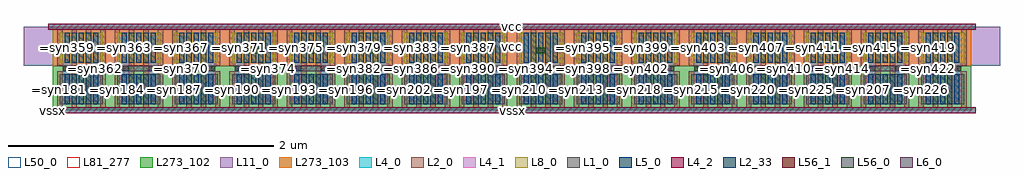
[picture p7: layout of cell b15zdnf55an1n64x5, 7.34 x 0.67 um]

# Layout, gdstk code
import gdstk
lib = gdstk.Library(unit=1e-6, precision=5e-10)
def R(c, l, rs):  # rectangles x0, y0, x1, y1
    for r in rs: c.add(gdstk.rectangle(r[:2], r[2:], *l))
def A(c, l, x, y, w, h, nx, ny, dx, dy):  # array of equal rectangles
    R(c, l, [(x+i*dx, y+j*dy, x+i*dx+w, y+j*dy+h) for i in range(nx) for j in range(ny)])
def P(c, l, *ps):  # polygons
    for p in ps: c.add(gdstk.Polygon(p, *l))
L1_0 = (1, 0)
L2_0 = (2, 0)
L2_33 = (2, 33)
L4_0 = (4, 0)
L4_1 = (4, 1)
L4_2 = (4, 2)
L5_0 = (5, 0)
L6_0 = (6, 0)
L8_0 = (8, 0)
L11_0 = (11, 0)
L50_0 = (50, 0)
L56_0 = (56, 0)
L56_1 = (56, 1)
L81_277 = (81, 277)
L273_102 = (273, 102)
L273_103 = (273, 103)

b15zdnf55an1n64x5 = lib.new_cell('b15zdnf55an1n64x5')
A(b15zdnf55an1n64x5, L1_0, 0.054, 0.045, 0.324, 0.225, 16, 1, 0.432, 0)
R(b15zdnf55an1n64x5, L2_0, [(0.034,0.021,0.074,0.294), (0.142,0.021,0.182,0.609), (0.25,0.021,0.29,0.609), (0.358,0.021,0.398,0.294), (0.466,0.021,0.506,0.294), (0.574,0.021,0.614,0.609), (0.682,0.021,0.722,0.609), (0.79,0.021,0.83,0.294), (0.898,0.021,0.938,0.294), (1.006,0.021,1.046,0.609), (1.114,0.021,1.154,0.609), (1.222,0.021,1.262,0.294), (1.33,0.021,1.37,0.294), (1.438,0.021,1.478,0.609), (1.546,0.021,1.586,0.609), (1.654,0.021,1.694,0.294), (1.762,0.021,1.802,0.294), (1.87,0.021,1.91,0.609), (1.978,0.021,2.018,0.609), (2.086,0.021,2.126,0.294), (2.194,0.021,2.234,0.294), (2.302,0.021,2.342,0.609), (2.41,0.021,2.45,0.609), (2.518,0.021,2.558,0.294), (2.626,0.021,2.666,0.294), (2.734,0.021,2.774,0.609), (2.842,0.021,2.882,0.609), (2.95,0.021,2.99,0.294), (3.058,0.021,3.098,0.294), (3.166,0.021,3.206,0.609), (3.274,0.021,3.314,0.609), (3.382,0.021,3.422,0.294), (3.49,0.021,3.53,0.294), (3.598,0.021,3.638,0.609), (3.706,0.021,3.746,0.609), (3.814,0.021,3.854,0.294), (3.922,0.021,3.962,0.294), (4.03,0.021,4.07,0.609), (4.138,0.021,4.178,0.609), (4.246,0.021,4.286,0.294), (4.354,0.021,4.394,0.294), (4.462,0.021,4.502,0.609), (4.57,0.021,4.61,0.609), (4.678,0.021,4.718,0.294), (4.786,0.021,4.826,0.294), (4.894,0.021,4.934,0.609), (5.002,0.021,5.042,0.609), (5.11,0.021,5.15,0.294), (5.218,0.021,5.258,0.294), (5.326,0.021,5.366,0.609), (5.434,0.021,5.474,0.609), (5.542,0.021,5.582,0.294), (5.65,0.021,5.69,0.294), (5.758,0.021,5.798,0.609), (5.866,0.021,5.906,0.609), (5.974,0.021,6.014,0.294), (6.082,0.021,6.122,0.294), (6.19,0.021,6.23,0.609), (6.298,0.021,6.338,0.609), (6.406,0.021,6.446,0.294), (6.514,0.021,6.554,0.294), (6.622,0.021,6.662,0.609), (6.73,0.021,6.77,0.609), (6.838,0.021,6.878,0.294), (0.034,0.336,0.074,0.609), (0.358,0.336,0.398,0.609), (0.466,0.336,0.506,0.609), (0.79,0.336,0.83,0.609), (0.898,0.336,0.938,0.609), (1.222,0.336,1.262,0.609), (1.33,0.336,1.37,0.609), (1.654,0.336,1.694,0.609), (1.762,0.336,1.802,0.609), (2.086,0.336,2.126,0.609), (2.194,0.336,2.234,0.609), (2.518,0.336,2.558,0.609), (2.626,0.336,2.666,0.609), (2.95,0.336,2.99,0.609), (3.058,0.336,3.098,0.609), (3.382,0.336,3.422,0.609), (3.49,0.336,3.53,0.609), (3.814,0.336,3.854,0.609), (3.922,0.336,3.962,0.609), (4.246,0.336,4.286,0.609), (4.354,0.336,4.394,0.609), (4.678,0.336,4.718,0.609), (4.786,0.336,4.826,0.609), (5.11,0.336,5.15,0.609), (5.218,0.336,5.258,0.609), (5.542,0.336,5.582,0.609), (5.65,0.336,5.69,0.609), (5.974,0.336,6.014,0.609), (6.082,0.336,6.122,0.609), (6.406,0.336,6.446,0.609), (6.514,0.336,6.554,0.609), (6.838,0.336,6.878,0.609)])
R(b15zdnf55an1n64x5, L2_33, [(0.142,0.045,0.182,0.27), (0.25,0.045,0.29,0.27), (0.574,0.045,0.614,0.27), (0.682,0.045,0.722,0.27), (1.006,0.045,1.046,0.27), (1.114,0.045,1.154,0.27), (1.438,0.045,1.478,0.27), (1.546,0.045,1.586,0.27), (1.87,0.045,1.91,0.27), (1.978,0.045,2.018,0.27), (2.302,0.045,2.342,0.27), (2.41,0.045,2.45,0.27), (2.734,0.045,2.774,0.27), (2.842,0.045,2.882,0.27), (3.166,0.045,3.206,0.27), (3.274,0.045,3.314,0.27), (3.598,0.045,3.638,0.27), (3.706,0.045,3.746,0.27), (4.03,0.045,4.07,0.27), (4.138,0.045,4.178,0.27), (4.462,0.045,4.502,0.27), (4.57,0.045,4.61,0.27), (4.894,0.045,4.934,0.27), (5.002,0.045,5.042,0.27), (5.326,0.045,5.366,0.27), (5.434,0.045,5.474,0.27), (5.758,0.045,5.798,0.27), (5.866,0.045,5.906,0.27), (6.19,0.045,6.23,0.27), (6.298,0.045,6.338,0.27), (6.622,0.045,6.662,0.27), (6.73,0.045,6.77,0.27), (0.142,0.36,0.182,0.585), (0.25,0.36,0.29,0.585), (0.574,0.36,0.614,0.585), (0.682,0.36,0.722,0.585), (1.006,0.36,1.046,0.585), (1.114,0.36,1.154,0.585), (1.438,0.36,1.478,0.585), (1.546,0.36,1.586,0.585), (1.87,0.36,1.91,0.585), (1.978,0.36,2.018,0.585), (2.302,0.36,2.342,0.585), (2.41,0.36,2.45,0.585), (2.734,0.36,2.774,0.585), (2.842,0.36,2.882,0.585), (3.166,0.36,3.206,0.585), (3.274,0.36,3.314,0.585), (3.598,0.36,3.638,0.585), (3.706,0.36,3.746,0.585), (4.03,0.36,4.07,0.585), (4.138,0.36,4.178,0.585), (4.462,0.36,4.502,0.585), (4.57,0.36,4.61,0.585), (4.894,0.36,4.934,0.585), (5.002,0.36,5.042,0.585), (5.326,0.36,5.366,0.585), (5.434,0.36,5.474,0.585), (5.758,0.36,5.798,0.585), (5.866,0.36,5.906,0.585), (6.19,0.36,6.23,0.585), (6.298,0.36,6.338,0.585), (6.622,0.36,6.662,0.585), (6.73,0.36,6.77,0.585)])
R(b15zdnf55an1n64x5, L4_0, [(-0.034,-0.022,6.946,0.022), (-0.034,0.608,6.946,0.652)])
P(b15zdnf55an1n64x5, L4_0, [(0.358,0.428),(0.074,0.428),(0.074,0.562),(0.142,0.562),(0.142,0.472),(0.29,0.472),(0.29,0.562),(0.358,0.562)],
  [(0.358,0.068),(0.29,0.068),(0.29,0.158),(0.142,0.158),(0.142,0.068),(0.074,0.068),(0.074,0.382),(0.142,0.382),(0.142,0.202),(0.29,0.202),(0.29,0.382),(0.358,0.382)],
  [(0.79,0.428),(0.506,0.428),(0.506,0.562),(0.574,0.562),(0.574,0.472),(0.722,0.472),(0.722,0.562),(0.79,0.562)],
  [(0.79,0.068),(0.722,0.068),(0.722,0.158),(0.574,0.158),(0.574,0.068),(0.506,0.068),(0.506,0.382),(0.574,0.382),(0.574,0.202),(0.722,0.202),(0.722,0.382),(0.79,0.382)],
  [(1.222,0.428),(0.938,0.428),(0.938,0.562),(1.006,0.562),(1.006,0.472),(1.154,0.472),(1.154,0.562),(1.222,0.562)],
  [(1.222,0.068),(1.154,0.068),(1.154,0.158),(1.006,0.158),(1.006,0.068),(0.938,0.068),(0.938,0.382),(1.006,0.382),(1.006,0.202),(1.154,0.202),(1.154,0.382),(1.222,0.382)],
  [(1.654,0.428),(1.37,0.428),(1.37,0.562),(1.438,0.562),(1.438,0.472),(1.586,0.472),(1.586,0.562),(1.654,0.562)],
  [(1.654,0.068),(1.586,0.068),(1.586,0.158),(1.438,0.158),(1.438,0.068),(1.37,0.068),(1.37,0.382),(1.438,0.382),(1.438,0.202),(1.586,0.202),(1.586,0.382),(1.654,0.382)],
  [(2.086,0.428),(1.802,0.428),(1.802,0.562),(1.87,0.562),(1.87,0.472),(2.018,0.472),(2.018,0.562),(2.086,0.562)],
  [(2.086,0.068),(2.018,0.068),(2.018,0.158),(1.87,0.158),(1.87,0.068),(1.802,0.068),(1.802,0.382),(1.87,0.382),(1.87,0.202),(2.018,0.202),(2.018,0.382),(2.086,0.382)],
  [(2.518,0.428),(2.234,0.428),(2.234,0.562),(2.302,0.562),(2.302,0.472),(2.45,0.472),(2.45,0.562),(2.518,0.562)],
  [(2.518,0.068),(2.45,0.068),(2.45,0.158),(2.302,0.158),(2.302,0.068),(2.234,0.068),(2.234,0.382),(2.302,0.382),(2.302,0.202),(2.45,0.202),(2.45,0.382),(2.518,0.382)],
  [(2.95,0.428),(2.666,0.428),(2.666,0.562),(2.734,0.562),(2.734,0.472),(2.882,0.472),(2.882,0.562),(2.95,0.562)],
  [(2.95,0.068),(2.882,0.068),(2.882,0.158),(2.734,0.158),(2.734,0.068),(2.666,0.068),(2.666,0.382),(2.734,0.382),(2.734,0.202),(2.882,0.202),(2.882,0.382),(2.95,0.382)],
  [(3.382,0.428),(3.098,0.428),(3.098,0.562),(3.166,0.562),(3.166,0.472),(3.314,0.472),(3.314,0.562),(3.382,0.562)],
  [(3.382,0.068),(3.314,0.068),(3.314,0.158),(3.166,0.158),(3.166,0.068),(3.098,0.068),(3.098,0.382),(3.166,0.382),(3.166,0.202),(3.314,0.202),(3.314,0.382),(3.382,0.382)],
  [(3.814,0.428),(3.53,0.428),(3.53,0.562),(3.598,0.562),(3.598,0.472),(3.746,0.472),(3.746,0.562),(3.814,0.562)],
  [(3.814,0.068),(3.746,0.068),(3.746,0.158),(3.598,0.158),(3.598,0.068),(3.53,0.068),(3.53,0.382),(3.598,0.382),(3.598,0.202),(3.746,0.202),(3.746,0.382),(3.814,0.382)],
  [(4.246,0.428),(3.962,0.428),(3.962,0.562),(4.03,0.562),(4.03,0.472),(4.178,0.472),(4.178,0.562),(4.246,0.562)],
  [(4.246,0.068),(4.178,0.068),(4.178,0.158),(4.03,0.158),(4.03,0.068),(3.962,0.068),(3.962,0.382),(4.03,0.382),(4.03,0.202),(4.178,0.202),(4.178,0.382),(4.246,0.382)],
  [(4.678,0.428),(4.394,0.428),(4.394,0.562),(4.462,0.562),(4.462,0.472),(4.61,0.472),(4.61,0.562),(4.678,0.562)],
  [(4.678,0.068),(4.61,0.068),(4.61,0.158),(4.462,0.158),(4.462,0.068),(4.394,0.068),(4.394,0.382),(4.462,0.382),(4.462,0.202),(4.61,0.202),(4.61,0.382),(4.678,0.382)],
  [(5.11,0.428),(4.826,0.428),(4.826,0.562),(4.894,0.562),(4.894,0.472),(5.042,0.472),(5.042,0.562),(5.11,0.562)],
  [(5.11,0.068),(5.042,0.068),(5.042,0.158),(4.894,0.158),(4.894,0.068),(4.826,0.068),(4.826,0.382),(4.894,0.382),(4.894,0.202),(5.042,0.202),(5.042,0.382),(5.11,0.382)],
  [(5.542,0.428),(5.258,0.428),(5.258,0.562),(5.326,0.562),(5.326,0.472),(5.474,0.472),(5.474,0.562),(5.542,0.562)],
  [(5.542,0.068),(5.474,0.068),(5.474,0.158),(5.326,0.158),(5.326,0.068),(5.258,0.068),(5.258,0.382),(5.326,0.382),(5.326,0.202),(5.474,0.202),(5.474,0.382),(5.542,0.382)],
  [(5.974,0.428),(5.69,0.428),(5.69,0.562),(5.758,0.562),(5.758,0.472),(5.906,0.472),(5.906,0.562),(5.974,0.562)],
  [(5.974,0.068),(5.906,0.068),(5.906,0.158),(5.758,0.158),(5.758,0.068),(5.69,0.068),(5.69,0.382),(5.758,0.382),(5.758,0.202),(5.906,0.202),(5.906,0.382),(5.974,0.382)],
  [(6.406,0.428),(6.122,0.428),(6.122,0.562),(6.19,0.562),(6.19,0.472),(6.338,0.472),(6.338,0.562),(6.406,0.562)],
  [(6.406,0.068),(6.338,0.068),(6.338,0.158),(6.19,0.158),(6.19,0.068),(6.122,0.068),(6.122,0.382),(6.19,0.382),(6.19,0.202),(6.338,0.202),(6.338,0.382),(6.406,0.382)],
  [(6.838,0.428),(6.554,0.428),(6.554,0.562),(6.622,0.562),(6.622,0.472),(6.77,0.472),(6.77,0.562),(6.838,0.562)],
  [(6.838,0.068),(6.77,0.068),(6.77,0.158),(6.622,0.158),(6.622,0.068),(6.554,0.068),(6.554,0.382),(6.622,0.382),(6.622,0.202),(6.77,0.202),(6.77,0.382),(6.838,0.382)])
P(b15zdnf55an1n64x5, L4_1, [(0.358,0.428),(0.074,0.428),(0.074,0.562),(0.142,0.562),(0.142,0.472),(0.29,0.472),(0.29,0.562),(0.358,0.562)],
  [(0.358,0.068),(0.29,0.068),(0.29,0.158),(0.142,0.158),(0.142,0.068),(0.074,0.068),(0.074,0.382),(0.142,0.382),(0.142,0.202),(0.29,0.202),(0.29,0.382),(0.358,0.382)],
  [(0.79,0.428),(0.506,0.428),(0.506,0.562),(0.574,0.562),(0.574,0.472),(0.722,0.472),(0.722,0.562),(0.79,0.562)],
  [(0.79,0.068),(0.722,0.068),(0.722,0.158),(0.574,0.158),(0.574,0.068),(0.506,0.068),(0.506,0.382),(0.574,0.382),(0.574,0.202),(0.722,0.202),(0.722,0.382),(0.79,0.382)],
  [(1.222,0.428),(0.938,0.428),(0.938,0.562),(1.006,0.562),(1.006,0.472),(1.154,0.472),(1.154,0.562),(1.222,0.562)],
  [(1.222,0.068),(1.154,0.068),(1.154,0.158),(1.006,0.158),(1.006,0.068),(0.938,0.068),(0.938,0.382),(1.006,0.382),(1.006,0.202),(1.154,0.202),(1.154,0.382),(1.222,0.382)],
  [(1.654,0.428),(1.37,0.428),(1.37,0.562),(1.438,0.562),(1.438,0.472),(1.586,0.472),(1.586,0.562),(1.654,0.562)],
  [(1.654,0.068),(1.586,0.068),(1.586,0.158),(1.438,0.158),(1.438,0.068),(1.37,0.068),(1.37,0.382),(1.438,0.382),(1.438,0.202),(1.586,0.202),(1.586,0.382),(1.654,0.382)],
  [(2.086,0.428),(1.802,0.428),(1.802,0.562),(1.87,0.562),(1.87,0.472),(2.018,0.472),(2.018,0.562),(2.086,0.562)],
  [(2.086,0.068),(2.018,0.068),(2.018,0.158),(1.87,0.158),(1.87,0.068),(1.802,0.068),(1.802,0.382),(1.87,0.382),(1.87,0.202),(2.018,0.202),(2.018,0.382),(2.086,0.382)],
  [(2.518,0.428),(2.234,0.428),(2.234,0.562),(2.302,0.562),(2.302,0.472),(2.45,0.472),(2.45,0.562),(2.518,0.562)],
  [(2.518,0.068),(2.45,0.068),(2.45,0.158),(2.302,0.158),(2.302,0.068),(2.234,0.068),(2.234,0.382),(2.302,0.382),(2.302,0.202),(2.45,0.202),(2.45,0.382),(2.518,0.382)],
  [(2.95,0.428),(2.666,0.428),(2.666,0.562),(2.734,0.562),(2.734,0.472),(2.882,0.472),(2.882,0.562),(2.95,0.562)],
  [(2.95,0.068),(2.882,0.068),(2.882,0.158),(2.734,0.158),(2.734,0.068),(2.666,0.068),(2.666,0.382),(2.734,0.382),(2.734,0.202),(2.882,0.202),(2.882,0.382),(2.95,0.382)],
  [(3.382,0.428),(3.098,0.428),(3.098,0.562),(3.166,0.562),(3.166,0.472),(3.314,0.472),(3.314,0.562),(3.382,0.562)],
  [(3.382,0.068),(3.314,0.068),(3.314,0.158),(3.166,0.158),(3.166,0.068),(3.098,0.068),(3.098,0.382),(3.166,0.382),(3.166,0.202),(3.314,0.202),(3.314,0.382),(3.382,0.382)],
  [(3.814,0.428),(3.53,0.428),(3.53,0.562),(3.598,0.562),(3.598,0.472),(3.746,0.472),(3.746,0.562),(3.814,0.562)],
  [(3.814,0.068),(3.746,0.068),(3.746,0.158),(3.598,0.158),(3.598,0.068),(3.53,0.068),(3.53,0.382),(3.598,0.382),(3.598,0.202),(3.746,0.202),(3.746,0.382),(3.814,0.382)],
  [(4.246,0.428),(3.962,0.428),(3.962,0.562),(4.03,0.562),(4.03,0.472),(4.178,0.472),(4.178,0.562),(4.246,0.562)],
  [(4.246,0.068),(4.178,0.068),(4.178,0.158),(4.03,0.158),(4.03,0.068),(3.962,0.068),(3.962,0.382),(4.03,0.382),(4.03,0.202),(4.178,0.202),(4.178,0.382),(4.246,0.382)],
  [(4.678,0.428),(4.394,0.428),(4.394,0.562),(4.462,0.562),(4.462,0.472),(4.61,0.472),(4.61,0.562),(4.678,0.562)],
  [(4.678,0.068),(4.61,0.068),(4.61,0.158),(4.462,0.158),(4.462,0.068),(4.394,0.068),(4.394,0.382),(4.462,0.382),(4.462,0.202),(4.61,0.202),(4.61,0.382),(4.678,0.382)],
  [(5.11,0.428),(4.826,0.428),(4.826,0.562),(4.894,0.562),(4.894,0.472),(5.042,0.472),(5.042,0.562),(5.11,0.562)],
  [(5.11,0.068),(5.042,0.068),(5.042,0.158),(4.894,0.158),(4.894,0.068),(4.826,0.068),(4.826,0.382),(4.894,0.382),(4.894,0.202),(5.042,0.202),(5.042,0.382),(5.11,0.382)],
  [(5.542,0.428),(5.258,0.428),(5.258,0.562),(5.326,0.562),(5.326,0.472),(5.474,0.472),(5.474,0.562),(5.542,0.562)],
  [(5.542,0.068),(5.474,0.068),(5.474,0.158),(5.326,0.158),(5.326,0.068),(5.258,0.068),(5.258,0.382),(5.326,0.382),(5.326,0.202),(5.474,0.202),(5.474,0.382),(5.542,0.382)],
  [(5.974,0.428),(5.69,0.428),(5.69,0.562),(5.758,0.562),(5.758,0.472),(5.906,0.472),(5.906,0.562),(5.974,0.562)],
  [(5.974,0.068),(5.906,0.068),(5.906,0.158),(5.758,0.158),(5.758,0.068),(5.69,0.068),(5.69,0.382),(5.758,0.382),(5.758,0.202),(5.906,0.202),(5.906,0.382),(5.974,0.382)],
  [(6.406,0.428),(6.122,0.428),(6.122,0.562),(6.19,0.562),(6.19,0.472),(6.338,0.472),(6.338,0.562),(6.406,0.562)],
  [(6.406,0.068),(6.338,0.068),(6.338,0.158),(6.19,0.158),(6.19,0.068),(6.122,0.068),(6.122,0.382),(6.19,0.382),(6.19,0.202),(6.338,0.202),(6.338,0.382),(6.406,0.382)],
  [(6.838,0.428),(6.554,0.428),(6.554,0.562),(6.622,0.562),(6.622,0.472),(6.77,0.472),(6.77,0.562),(6.838,0.562)],
  [(6.838,0.068),(6.77,0.068),(6.77,0.158),(6.622,0.158),(6.622,0.068),(6.554,0.068),(6.554,0.382),(6.622,0.382),(6.622,0.202),(6.77,0.202),(6.77,0.382),(6.838,0.382)])
R(b15zdnf55an1n64x5, L4_2, [(-0.034,-0.022,6.946,0.022), (-0.034,0.608,6.946,0.652)])
A(b15zdnf55an1n64x5, L5_0, 0.089, 0.045, 0.038, 0.225, 3, 2, 0.108, 0.315)
A(b15zdnf55an1n64x5, L5_0, 0.521, 0.045, 0.038, 0.225, 3, 2, 0.108, 0.315)
A(b15zdnf55an1n64x5, L5_0, 0.953, 0.045, 0.038, 0.225, 3, 2, 0.108, 0.315)
A(b15zdnf55an1n64x5, L5_0, 1.385, 0.045, 0.038, 0.225, 3, 2, 0.108, 0.315)
A(b15zdnf55an1n64x5, L5_0, 1.817, 0.045, 0.038, 0.225, 3, 2, 0.108, 0.315)
A(b15zdnf55an1n64x5, L5_0, 2.249, 0.045, 0.038, 0.225, 3, 2, 0.108, 0.315)
A(b15zdnf55an1n64x5, L5_0, 2.681, 0.045, 0.038, 0.225, 3, 2, 0.108, 0.315)
A(b15zdnf55an1n64x5, L5_0, 3.113, 0.045, 0.038, 0.225, 3, 2, 0.108, 0.315)
A(b15zdnf55an1n64x5, L5_0, 3.545, 0.045, 0.038, 0.225, 3, 2, 0.108, 0.315)
A(b15zdnf55an1n64x5, L5_0, 3.977, 0.045, 0.038, 0.225, 3, 2, 0.108, 0.315)
A(b15zdnf55an1n64x5, L5_0, 4.409, 0.045, 0.038, 0.225, 3, 2, 0.108, 0.315)
A(b15zdnf55an1n64x5, L5_0, 4.841, 0.045, 0.038, 0.225, 3, 2, 0.108, 0.315)
A(b15zdnf55an1n64x5, L5_0, 5.273, 0.045, 0.038, 0.225, 3, 2, 0.108, 0.315)
A(b15zdnf55an1n64x5, L5_0, 5.705, 0.045, 0.038, 0.225, 3, 2, 0.108, 0.315)
A(b15zdnf55an1n64x5, L5_0, 6.137, 0.045, 0.038, 0.225, 3, 2, 0.108, 0.315)
A(b15zdnf55an1n64x5, L5_0, 6.569, 0.045, 0.038, 0.225, 3, 2, 0.108, 0.315)
A(b15zdnf55an1n64x5, L6_0, 0.099, 0.296, 0.234, 0.038, 16, 1, 0.432, 0)
A(b15zdnf55an1n64x5, L8_0, 0.054, 0.36, 0.324, 0.225, 16, 1, 0.432, 0)
R(b15zdnf55an1n64x5, L11_0, [(-0.216,0.3375,7.128,0.63)])
R(b15zdnf55an1n64x5, L50_0, [(0,0,6.912,0.63)])
A(b15zdnf55an1n64x5, L56_0, 0.074, 0.293, 0.068, 0.044, 32, 1, 0.216, 0)
A(b15zdnf55an1n64x5, L56_0, 0.182, 0.428, 0.068, 0.044, 16, 1, 0.432, 0)
A(b15zdnf55an1n64x5, L56_1, 0.074, 0.293, 0.068, 0.044, 32, 1, 0.216, 0)
A(b15zdnf55an1n64x5, L56_1, 0.182, 0.428, 0.068, 0.044, 16, 1, 0.432, 0)
R(b15zdnf55an1n64x5, L81_277, [(0,0,6.912,0.63)])
R(b15zdnf55an1n64x5, L273_102, [(0,0,6.912,0.3375)])
R(b15zdnf55an1n64x5, L273_103, [(0,0.3375,6.912,0.63)])
b15zdnf55an1n64x5.add(gdstk.Label('vssx', (0,0), layer=81, texttype=6))
b15zdnf55an1n64x5.add(gdstk.Label('vcc', (3.456,0.484), layer=11, texttype=0))
b15zdnf55an1n64x5.add(gdstk.Label('=syn359', (0.108,0.4725), layer=8, texttype=0))
b15zdnf55an1n64x5.add(gdstk.Label('=syn363', (0.54,0.4725), layer=8, texttype=0))
b15zdnf55an1n64x5.add(gdstk.Label('=syn367', (0.972,0.4725), layer=8, texttype=0))
b15zdnf55an1n64x5.add(gdstk.Label('=syn371', (1.404,0.4725), layer=8, texttype=0))
b15zdnf55an1n64x5.add(gdstk.Label('=syn375', (1.836,0.4725), layer=8, texttype=0))
b15zdnf55an1n64x5.add(gdstk.Label('=syn379', (2.268,0.4725), layer=8, texttype=0))
b15zdnf55an1n64x5.add(gdstk.Label('=syn383', (2.7,0.4725), layer=8, texttype=0))
b15zdnf55an1n64x5.add(gdstk.Label('=syn387', (3.132,0.4725), layer=8, texttype=0))
b15zdnf55an1n64x5.add(gdstk.Label('=syn391', (3.564,0.4725), layer=8, texttype=0))
b15zdnf55an1n64x5.add(gdstk.Label('=syn395', (3.996,0.4725), layer=8, texttype=0))
b15zdnf55an1n64x5.add(gdstk.Label('=syn399', (4.428,0.4725), layer=8, texttype=0))
b15zdnf55an1n64x5.add(gdstk.Label('=syn403', (4.86,0.4725), layer=8, texttype=0))
b15zdnf55an1n64x5.add(gdstk.Label('=syn407', (5.292,0.4725), layer=8, texttype=0))
b15zdnf55an1n64x5.add(gdstk.Label('=syn411', (5.724,0.4725), layer=8, texttype=0))
b15zdnf55an1n64x5.add(gdstk.Label('=syn415', (6.156,0.4725), layer=8, texttype=0))
b15zdnf55an1n64x5.add(gdstk.Label('=syn419', (6.588,0.4725), layer=8, texttype=0))
b15zdnf55an1n64x5.add(gdstk.Label('=syn360', (0.27,0.45), layer=4, texttype=0))
b15zdnf55an1n64x5.add(gdstk.Label('=syn362', (0.324,0.315), layer=4, texttype=0))
b15zdnf55an1n64x5.add(gdstk.Label('=syn364', (0.648,0.45), layer=4, texttype=0))
b15zdnf55an1n64x5.add(gdstk.Label('=syn366', (0.54,0.315), layer=4, texttype=0))
b15zdnf55an1n64x5.add(gdstk.Label('=syn368', (1.08,0.45), layer=4, texttype=0))
b15zdnf55an1n64x5.add(gdstk.Label('=syn370', (0.972,0.315), layer=4, texttype=0))
b15zdnf55an1n64x5.add(gdstk.Label('=syn372', (1.512,0.45), layer=4, texttype=0))
b15zdnf55an1n64x5.add(gdstk.Label('=syn374', (1.62,0.315), layer=4, texttype=0))
b15zdnf55an1n64x5.add(gdstk.Label('=syn376', (1.89,0.45), layer=4, texttype=0))
b15zdnf55an1n64x5.add(gdstk.Label('=syn378', (1.836,0.315), layer=4, texttype=0))
b15zdnf55an1n64x5.add(gdstk.Label('=syn380', (2.376,0.45), layer=4, texttype=0))
b15zdnf55an1n64x5.add(gdstk.Label('=syn382', (2.268,0.315), layer=4, texttype=0))
b15zdnf55an1n64x5.add(gdstk.Label('=syn384', (2.916,0.495), layer=4, texttype=0))
b15zdnf55an1n64x5.add(gdstk.Label('=syn386', (2.7,0.315), layer=4, texttype=0))
b15zdnf55an1n64x5.add(gdstk.Label('=syn388', (3.24,0.45), layer=4, texttype=0))
b15zdnf55an1n64x5.add(gdstk.Label('=syn390', (3.132,0.315), layer=4, texttype=0))
b15zdnf55an1n64x5.add(gdstk.Label('=syn392', (3.672,0.45), layer=4, texttype=0))
b15zdnf55an1n64x5.add(gdstk.Label('=syn394', (3.564,0.315), layer=4, texttype=0))
b15zdnf55an1n64x5.add(gdstk.Label('=syn396', (3.996,0.495), layer=4, texttype=0))
b15zdnf55an1n64x5.add(gdstk.Label('=syn398', (3.996,0.315), layer=4, texttype=0))
b15zdnf55an1n64x5.add(gdstk.Label('=syn400', (4.536,0.45), layer=4, texttype=0))
b15zdnf55an1n64x5.add(gdstk.Label('=syn402', (4.428,0.315), layer=4, texttype=0))
b15zdnf55an1n64x5.add(gdstk.Label('=syn404', (5.022,0.45), layer=4, texttype=0))
b15zdnf55an1n64x5.add(gdstk.Label('=syn406', (5.076,0.315), layer=4, texttype=0))
b15zdnf55an1n64x5.add(gdstk.Label('=syn408', (5.4,0.45), layer=4, texttype=0))
b15zdnf55an1n64x5.add(gdstk.Label('=syn410', (5.508,0.315), layer=4, texttype=0))
b15zdnf55an1n64x5.add(gdstk.Label('=syn412', (5.832,0.45), layer=4, texttype=0))
b15zdnf55an1n64x5.add(gdstk.Label('=syn414', (5.94,0.315), layer=4, texttype=0))
b15zdnf55an1n64x5.add(gdstk.Label('=syn416', (6.264,0.45), layer=4, texttype=0))
b15zdnf55an1n64x5.add(gdstk.Label('=syn418', (6.156,0.315), layer=4, texttype=0))
b15zdnf55an1n64x5.add(gdstk.Label('=syn420', (6.642,0.45), layer=4, texttype=0))
b15zdnf55an1n64x5.add(gdstk.Label('=syn422', (6.588,0.315), layer=4, texttype=0))
b15zdnf55an1n64x5.add(gdstk.Label('vcc', (3.456,0.63), layer=4, texttype=0))
b15zdnf55an1n64x5.add(gdstk.Label('vssx', (3.456,0), layer=4, texttype=0))
b15zdnf55an1n64x5.add(gdstk.Label('vcc', (3.456,0.63), layer=4, texttype=2))
b15zdnf55an1n64x5.add(gdstk.Label('vssx', (3.456,0), layer=4, texttype=2))
b15zdnf55an1n64x5.add(gdstk.Label('=syn182', (0.054,0.4725), layer=2, texttype=0))
b15zdnf55an1n64x5.add(gdstk.Label('=syn181', (0.054,0.1575), layer=2, texttype=0))
b15zdnf55an1n64x5.add(gdstk.Label('=syn362', (0.162,0.4725), layer=2, texttype=0))
b15zdnf55an1n64x5.add(gdstk.Label('=syn362', (0.27,0.4725), layer=2, texttype=0))
b15zdnf55an1n64x5.add(gdstk.Label('=syn334', (0.378,0.4725), layer=2, texttype=0))
b15zdnf55an1n64x5.add(gdstk.Label('=syn332', (0.378,0.1575), layer=2, texttype=0))
b15zdnf55an1n64x5.add(gdstk.Label('=syn185', (0.486,0.4725), layer=2, texttype=0))
b15zdnf55an1n64x5.add(gdstk.Label('=syn184', (0.486,0.1575), layer=2, texttype=0))
b15zdnf55an1n64x5.add(gdstk.Label('=syn366', (0.594,0.4725), layer=2, texttype=0))
b15zdnf55an1n64x5.add(gdstk.Label('=syn366', (0.702,0.4725), layer=2, texttype=0))
b15zdnf55an1n64x5.add(gdstk.Label('=syn340', (0.81,0.4725), layer=2, texttype=0))
b15zdnf55an1n64x5.add(gdstk.Label('=syn339', (0.81,0.1575), layer=2, texttype=0))
b15zdnf55an1n64x5.add(gdstk.Label('=syn188', (0.918,0.4725), layer=2, texttype=0))
b15zdnf55an1n64x5.add(gdstk.Label('=syn187', (0.918,0.1575), layer=2, texttype=0))
b15zdnf55an1n64x5.add(gdstk.Label('=syn370', (1.026,0.4725), layer=2, texttype=0))
b15zdnf55an1n64x5.add(gdstk.Label('=syn370', (1.134,0.4725), layer=2, texttype=0))
b15zdnf55an1n64x5.add(gdstk.Label('=syn349', (1.242,0.4725), layer=2, texttype=0))
b15zdnf55an1n64x5.add(gdstk.Label('=syn345', (1.242,0.1575), layer=2, texttype=0))
b15zdnf55an1n64x5.add(gdstk.Label('=syn191', (1.35,0.4725), layer=2, texttype=0))
b15zdnf55an1n64x5.add(gdstk.Label('=syn190', (1.35,0.1575), layer=2, texttype=0))
b15zdnf55an1n64x5.add(gdstk.Label('=syn374', (1.458,0.4725), layer=2, texttype=0))
b15zdnf55an1n64x5.add(gdstk.Label('=syn374', (1.566,0.4725), layer=2, texttype=0))
b15zdnf55an1n64x5.add(gdstk.Label('=syn344', (1.674,0.4725), layer=2, texttype=0))
b15zdnf55an1n64x5.add(gdstk.Label('=syn341', (1.674,0.1575), layer=2, texttype=0))
b15zdnf55an1n64x5.add(gdstk.Label('=syn194', (1.782,0.4725), layer=2, texttype=0))
b15zdnf55an1n64x5.add(gdstk.Label('=syn193', (1.782,0.1575), layer=2, texttype=0))
b15zdnf55an1n64x5.add(gdstk.Label('=syn378', (1.89,0.4725), layer=2, texttype=0))
b15zdnf55an1n64x5.add(gdstk.Label('=syn378', (1.998,0.4725), layer=2, texttype=0))
b15zdnf55an1n64x5.add(gdstk.Label('=syn350', (2.106,0.4725), layer=2, texttype=0))
b15zdnf55an1n64x5.add(gdstk.Label('=syn348', (2.106,0.1575), layer=2, texttype=0))
b15zdnf55an1n64x5.add(gdstk.Label('=syn198', (2.214,0.4725), layer=2, texttype=0))
b15zdnf55an1n64x5.add(gdstk.Label('=syn196', (2.214,0.1575), layer=2, texttype=0))
b15zdnf55an1n64x5.add(gdstk.Label('=syn382', (2.322,0.4725), layer=2, texttype=0))
b15zdnf55an1n64x5.add(gdstk.Label('=syn382', (2.43,0.4725), layer=2, texttype=0))
b15zdnf55an1n64x5.add(gdstk.Label('=syn357', (2.538,0.4725), layer=2, texttype=0))
b15zdnf55an1n64x5.add(gdstk.Label('=syn355', (2.538,0.1575), layer=2, texttype=0))
b15zdnf55an1n64x5.add(gdstk.Label('=syn203', (2.646,0.4725), layer=2, texttype=0))
b15zdnf55an1n64x5.add(gdstk.Label('=syn202', (2.646,0.1575), layer=2, texttype=0))
b15zdnf55an1n64x5.add(gdstk.Label('=syn386', (2.754,0.4725), layer=2, texttype=0))
b15zdnf55an1n64x5.add(gdstk.Label('=syn386', (2.862,0.4725), layer=2, texttype=0))
b15zdnf55an1n64x5.add(gdstk.Label('=syn300', (2.97,0.4725), layer=2, texttype=0))
b15zdnf55an1n64x5.add(gdstk.Label('=syn299', (2.97,0.1575), layer=2, texttype=0))
b15zdnf55an1n64x5.add(gdstk.Label('=syn199', (3.078,0.4725), layer=2, texttype=0))
b15zdnf55an1n64x5.add(gdstk.Label('=syn197', (3.078,0.1575), layer=2, texttype=0))
b15zdnf55an1n64x5.add(gdstk.Label('=syn390', (3.186,0.4725), layer=2, texttype=0))
b15zdnf55an1n64x5.add(gdstk.Label('=syn390', (3.294,0.4725), layer=2, texttype=0))
b15zdnf55an1n64x5.add(gdstk.Label('=syn358', (3.402,0.4725), layer=2, texttype=0))
b15zdnf55an1n64x5.add(gdstk.Label('=syn356', (3.402,0.1575), layer=2, texttype=0))
b15zdnf55an1n64x5.add(gdstk.Label('=syn211', (3.51,0.4725), layer=2, texttype=0))
b15zdnf55an1n64x5.add(gdstk.Label('=syn210', (3.51,0.1575), layer=2, texttype=0))
b15zdnf55an1n64x5.add(gdstk.Label('=syn394', (3.618,0.4725), layer=2, texttype=0))
b15zdnf55an1n64x5.add(gdstk.Label('=syn394', (3.726,0.4725), layer=2, texttype=0))
b15zdnf55an1n64x5.add(gdstk.Label('=syn308', (3.834,0.4725), layer=2, texttype=0))
b15zdnf55an1n64x5.add(gdstk.Label('=syn305', (3.834,0.1575), layer=2, texttype=0))
b15zdnf55an1n64x5.add(gdstk.Label('=syn214', (3.942,0.4725), layer=2, texttype=0))
b15zdnf55an1n64x5.add(gdstk.Label('=syn213', (3.942,0.1575), layer=2, texttype=0))
b15zdnf55an1n64x5.add(gdstk.Label('=syn398', (4.05,0.4725), layer=2, texttype=0))
b15zdnf55an1n64x5.add(gdstk.Label('=syn398', (4.158,0.4725), layer=2, texttype=0))
b15zdnf55an1n64x5.add(gdstk.Label('=syn316', (4.266,0.4725), layer=2, texttype=0))
b15zdnf55an1n64x5.add(gdstk.Label('=syn313', (4.266,0.1575), layer=2, texttype=0))
b15zdnf55an1n64x5.add(gdstk.Label('=syn221', (4.374,0.4725), layer=2, texttype=0))
b15zdnf55an1n64x5.add(gdstk.Label('=syn218', (4.374,0.1575), layer=2, texttype=0))
b15zdnf55an1n64x5.add(gdstk.Label('=syn402', (4.482,0.4725), layer=2, texttype=0))
b15zdnf55an1n64x5.add(gdstk.Label('=syn402', (4.59,0.4725), layer=2, texttype=0))
b15zdnf55an1n64x5.add(gdstk.Label('=syn321', (4.698,0.4725), layer=2, texttype=0))
b15zdnf55an1n64x5.add(gdstk.Label('=syn324', (4.698,0.1575), layer=2, texttype=0))
b15zdnf55an1n64x5.add(gdstk.Label('=syn217', (4.806,0.4725), layer=2, texttype=0))
b15zdnf55an1n64x5.add(gdstk.Label('=syn215', (4.806,0.1575), layer=2, texttype=0))
b15zdnf55an1n64x5.add(gdstk.Label('=syn406', (4.914,0.4725), layer=2, texttype=0))
b15zdnf55an1n64x5.add(gdstk.Label('=syn406', (5.022,0.4725), layer=2, texttype=0))
b15zdnf55an1n64x5.add(gdstk.Label('=syn322', (5.13,0.4725), layer=2, texttype=0))
b15zdnf55an1n64x5.add(gdstk.Label('=syn317', (5.13,0.1575), layer=2, texttype=0))
b15zdnf55an1n64x5.add(gdstk.Label('=syn222', (5.238,0.4725), layer=2, texttype=0))
b15zdnf55an1n64x5.add(gdstk.Label('=syn220', (5.238,0.1575), layer=2, texttype=0))
b15zdnf55an1n64x5.add(gdstk.Label('=syn410', (5.346,0.4725), layer=2, texttype=0))
b15zdnf55an1n64x5.add(gdstk.Label('=syn410', (5.454,0.4725), layer=2, texttype=0))
b15zdnf55an1n64x5.add(gdstk.Label('=syn323', (5.562,0.4725), layer=2, texttype=0))
b15zdnf55an1n64x5.add(gdstk.Label('=syn318', (5.562,0.1575), layer=2, texttype=0))
b15zdnf55an1n64x5.add(gdstk.Label('=syn227', (5.67,0.4725), layer=2, texttype=0))
b15zdnf55an1n64x5.add(gdstk.Label('=syn225', (5.67,0.1575), layer=2, texttype=0))
b15zdnf55an1n64x5.add(gdstk.Label('=syn414', (5.778,0.4725), layer=2, texttype=0))
b15zdnf55an1n64x5.add(gdstk.Label('=syn414', (5.886,0.4725), layer=2, texttype=0))
b15zdnf55an1n64x5.add(gdstk.Label('=syn335', (5.994,0.4725), layer=2, texttype=0))
b15zdnf55an1n64x5.add(gdstk.Label('=syn331', (5.994,0.1575), layer=2, texttype=0))
b15zdnf55an1n64x5.add(gdstk.Label('=syn208', (6.102,0.4725), layer=2, texttype=0))
b15zdnf55an1n64x5.add(gdstk.Label('=syn207', (6.102,0.1575), layer=2, texttype=0))
b15zdnf55an1n64x5.add(gdstk.Label('=syn418', (6.21,0.4725), layer=2, texttype=0))
b15zdnf55an1n64x5.add(gdstk.Label('=syn418', (6.318,0.4725), layer=2, texttype=0))
b15zdnf55an1n64x5.add(gdstk.Label('=syn312', (6.426,0.4725), layer=2, texttype=0))
b15zdnf55an1n64x5.add(gdstk.Label('=syn309', (6.426,0.1575), layer=2, texttype=0))
b15zdnf55an1n64x5.add(gdstk.Label('=syn228', (6.534,0.4725), layer=2, texttype=0))
b15zdnf55an1n64x5.add(gdstk.Label('=syn226', (6.534,0.1575), layer=2, texttype=0))
b15zdnf55an1n64x5.add(gdstk.Label('=syn422', (6.642,0.4725), layer=2, texttype=0))
b15zdnf55an1n64x5.add(gdstk.Label('=syn422', (6.75,0.4725), layer=2, texttype=0))
b15zdnf55an1n64x5.add(gdstk.Label('=syn338', (6.858,0.4725), layer=2, texttype=0))
b15zdnf55an1n64x5.add(gdstk.Label('=syn333', (6.858,0.1575), layer=2, texttype=0))
b15zdnf55an1n64x5.add(gdstk.Label('=syn336', (0.216,0.1575), layer=1, texttype=0))
b15zdnf55an1n64x5.add(gdstk.Label('=syn343', (0.756,0.1575), layer=1, texttype=0))
b15zdnf55an1n64x5.add(gdstk.Label('=syn352', (1.188,0.1575), layer=1, texttype=0))
b15zdnf55an1n64x5.add(gdstk.Label('=syn347', (1.62,0.1575), layer=1, texttype=0))
b15zdnf55an1n64x5.add(gdstk.Label('=syn195', (1.836,0.1575), layer=1, texttype=0))
b15zdnf55an1n64x5.add(gdstk.Label('=syn295', (2.376,0.1575), layer=1, texttype=0))
b15zdnf55an1n64x5.add(gdstk.Label('=syn302', (2.916,0.1575), layer=1, texttype=0))
b15zdnf55an1n64x5.add(gdstk.Label('=syn298', (3.348,0.1575), layer=1, texttype=0))
b15zdnf55an1n64x5.add(gdstk.Label('=syn311', (3.78,0.1575), layer=1, texttype=0))
b15zdnf55an1n64x5.add(gdstk.Label('=syn216', (3.996,0.1575), layer=1, texttype=0))
b15zdnf55an1n64x5.add(gdstk.Label('=syn223', (4.428,0.1575), layer=1, texttype=0))
b15zdnf55an1n64x5.add(gdstk.Label('=syn327', (4.968,0.1575), layer=1, texttype=0))
b15zdnf55an1n64x5.add(gdstk.Label('=syn329', (5.4,0.1575), layer=1, texttype=0))
b15zdnf55an1n64x5.add(gdstk.Label('=syn304', (5.94,0.1575), layer=1, texttype=0))
b15zdnf55an1n64x5.add(gdstk.Label('=syn315', (6.372,0.1575), layer=1, texttype=0))
b15zdnf55an1n64x5.add(gdstk.Label('=syn206', (6.588,0.1575), layer=1, texttype=0))
b15zdnf55an1n64x5.add(gdstk.Label('=syn362', (0.324,0.315), layer=6, texttype=0))
b15zdnf55an1n64x5.add(gdstk.Label('=syn366', (0.54,0.315), layer=6, texttype=0))
b15zdnf55an1n64x5.add(gdstk.Label('=syn370', (0.972,0.315), layer=6, texttype=0))
b15zdnf55an1n64x5.add(gdstk.Label('=syn374', (1.591,0.315), layer=6, texttype=0))
b15zdnf55an1n64x5.add(gdstk.Label('=syn378', (1.836,0.315), layer=6, texttype=0))
b15zdnf55an1n64x5.add(gdstk.Label('=syn382', (2.268,0.315), layer=6, texttype=0))
b15zdnf55an1n64x5.add(gdstk.Label('=syn386', (2.7,0.315), layer=6, texttype=0))
b15zdnf55an1n64x5.add(gdstk.Label('=syn390', (3.132,0.315), layer=6, texttype=0))
b15zdnf55an1n64x5.add(gdstk.Label('=syn394', (3.564,0.315), layer=6, texttype=0))
b15zdnf55an1n64x5.add(gdstk.Label('=syn398', (3.996,0.315), layer=6, texttype=0))
b15zdnf55an1n64x5.add(gdstk.Label('=syn402', (4.428,0.315), layer=6, texttype=0))
b15zdnf55an1n64x5.add(gdstk.Label('=syn406', (5.076,0.315), layer=6, texttype=0))
b15zdnf55an1n64x5.add(gdstk.Label('=syn410', (5.508,0.315), layer=6, texttype=0))
b15zdnf55an1n64x5.add(gdstk.Label('=syn414', (5.94,0.315), layer=6, texttype=0))
b15zdnf55an1n64x5.add(gdstk.Label('=syn418', (6.318,0.315), layer=6, texttype=0))
b15zdnf55an1n64x5.add(gdstk.Label('=syn422', (6.588,0.315), layer=6, texttype=0))
b15zdnf55an1n64x5.add(gdstk.Label('=syn359', (0.126,0.56), layer=5, texttype=0))
b15zdnf55an1n64x5.add(gdstk.Label('=syn183', (0.108,0.1575), layer=5, texttype=0))
b15zdnf55an1n64x5.add(gdstk.Label('=syn360', (0.216,0.45), layer=5, texttype=0))
b15zdnf55an1n64x5.add(gdstk.Label('=syn336', (0.216,0.1575), layer=5, texttype=0))
b15zdnf55an1n64x5.add(gdstk.Label('=syn361', (0.324,0.4725), layer=5, texttype=0))
b15zdnf55an1n64x5.add(gdstk.Label('=syn337', (0.324,0.1575), layer=5, texttype=0))
b15zdnf55an1n64x5.add(gdstk.Label('=syn363', (0.54,0.4725), layer=5, texttype=0))
b15zdnf55an1n64x5.add(gdstk.Label('=syn186', (0.54,0.1575), layer=5, texttype=0))
b15zdnf55an1n64x5.add(gdstk.Label('=syn364', (0.648,0.45), layer=5, texttype=0))
b15zdnf55an1n64x5.add(gdstk.Label('=syn342', (0.648,0.1575), layer=5, texttype=0))
b15zdnf55an1n64x5.add(gdstk.Label('=syn365', (0.756,0.4725), layer=5, texttype=0))
b15zdnf55an1n64x5.add(gdstk.Label('=syn343', (0.756,0.1575), layer=5, texttype=0))
b15zdnf55an1n64x5.add(gdstk.Label('=syn367', (0.972,0.4725), layer=5, texttype=0))
b15zdnf55an1n64x5.add(gdstk.Label('=syn189', (0.972,0.1575), layer=5, texttype=0))
b15zdnf55an1n64x5.add(gdstk.Label('=syn368', (1.08,0.45), layer=5, texttype=0))
b15zdnf55an1n64x5.add(gdstk.Label('=syn351', (1.08,0.1575), layer=5, texttype=0))
b15zdnf55an1n64x5.add(gdstk.Label('=syn369', (1.188,0.4725), layer=5, texttype=0))
b15zdnf55an1n64x5.add(gdstk.Label('=syn352', (1.188,0.1575), layer=5, texttype=0))
b15zdnf55an1n64x5.add(gdstk.Label('=syn371', (1.386,0.56), layer=5, texttype=0))
b15zdnf55an1n64x5.add(gdstk.Label('=syn192', (1.404,0.1575), layer=5, texttype=0))
b15zdnf55an1n64x5.add(gdstk.Label('=syn372', (1.512,0.45), layer=5, texttype=0))
b15zdnf55an1n64x5.add(gdstk.Label('=syn346', (1.512,0.1575), layer=5, texttype=0))
b15zdnf55an1n64x5.add(gdstk.Label('=syn373', (1.62,0.4725), layer=5, texttype=0))
b15zdnf55an1n64x5.add(gdstk.Label('=syn347', (1.62,0.1575), layer=5, texttype=0))
b15zdnf55an1n64x5.add(gdstk.Label('=syn375', (1.836,0.4725), layer=5, texttype=0))
b15zdnf55an1n64x5.add(gdstk.Label('=syn195', (1.836,0.1575), layer=5, texttype=0))
b15zdnf55an1n64x5.add(gdstk.Label('=syn376', (1.944,0.45), layer=5, texttype=0))
b15zdnf55an1n64x5.add(gdstk.Label('=syn353', (1.944,0.1575), layer=5, texttype=0))
b15zdnf55an1n64x5.add(gdstk.Label('=syn377', (2.052,0.4725), layer=5, texttype=0))
b15zdnf55an1n64x5.add(gdstk.Label('=syn354', (2.052,0.1575), layer=5, texttype=0))
b15zdnf55an1n64x5.add(gdstk.Label('=syn379', (2.268,0.4725), layer=5, texttype=0))
b15zdnf55an1n64x5.add(gdstk.Label('=syn200', (2.268,0.1575), layer=5, texttype=0))
b15zdnf55an1n64x5.add(gdstk.Label('=syn380', (2.376,0.45), layer=5, texttype=0))
b15zdnf55an1n64x5.add(gdstk.Label('=syn295', (2.376,0.1575), layer=5, texttype=0))
b15zdnf55an1n64x5.add(gdstk.Label('=syn381', (2.484,0.4725), layer=5, texttype=0))
b15zdnf55an1n64x5.add(gdstk.Label('=syn296', (2.484,0.1575), layer=5, texttype=0))
b15zdnf55an1n64x5.add(gdstk.Label('=syn383', (2.7,0.4725), layer=5, texttype=0))
b15zdnf55an1n64x5.add(gdstk.Label('=syn204', (2.7,0.1575), layer=5, texttype=0))
b15zdnf55an1n64x5.add(gdstk.Label('=syn384', (2.808,0.45), layer=5, texttype=0))
b15zdnf55an1n64x5.add(gdstk.Label('=syn301', (2.808,0.1575), layer=5, texttype=0))
b15zdnf55an1n64x5.add(gdstk.Label('=syn385', (2.916,0.4725), layer=5, texttype=0))
b15zdnf55an1n64x5.add(gdstk.Label('=syn302', (2.916,0.1575), layer=5, texttype=0))
b15zdnf55an1n64x5.add(gdstk.Label('=syn387', (3.132,0.4725), layer=5, texttype=0))
b15zdnf55an1n64x5.add(gdstk.Label('=syn201', (3.132,0.1575), layer=5, texttype=0))
b15zdnf55an1n64x5.add(gdstk.Label('=syn388', (3.24,0.45), layer=5, texttype=0))
b15zdnf55an1n64x5.add(gdstk.Label('=syn297', (3.24,0.1575), layer=5, texttype=0))
b15zdnf55an1n64x5.add(gdstk.Label('=syn389', (3.348,0.4725), layer=5, texttype=0))
b15zdnf55an1n64x5.add(gdstk.Label('=syn298', (3.348,0.1575), layer=5, texttype=0))
b15zdnf55an1n64x5.add(gdstk.Label('=syn391', (3.564,0.4725), layer=5, texttype=0))
b15zdnf55an1n64x5.add(gdstk.Label('=syn212', (3.564,0.1575), layer=5, texttype=0))
b15zdnf55an1n64x5.add(gdstk.Label('=syn392', (3.672,0.45), layer=5, texttype=0))
b15zdnf55an1n64x5.add(gdstk.Label('=syn310', (3.672,0.1575), layer=5, texttype=0))
b15zdnf55an1n64x5.add(gdstk.Label('=syn393', (3.78,0.4725), layer=5, texttype=0))
b15zdnf55an1n64x5.add(gdstk.Label('=syn311', (3.78,0.1575), layer=5, texttype=0))
b15zdnf55an1n64x5.add(gdstk.Label('=syn395', (3.996,0.4725), layer=5, texttype=0))
b15zdnf55an1n64x5.add(gdstk.Label('=syn216', (3.996,0.1575), layer=5, texttype=0))
b15zdnf55an1n64x5.add(gdstk.Label('=syn396', (4.104,0.45), layer=5, texttype=0))
b15zdnf55an1n64x5.add(gdstk.Label('=syn319', (4.104,0.1575), layer=5, texttype=0))
b15zdnf55an1n64x5.add(gdstk.Label('=syn397', (4.212,0.4725), layer=5, texttype=0))
b15zdnf55an1n64x5.add(gdstk.Label('=syn320', (4.212,0.1575), layer=5, texttype=0))
b15zdnf55an1n64x5.add(gdstk.Label('=syn399', (4.428,0.4725), layer=5, texttype=0))
b15zdnf55an1n64x5.add(gdstk.Label('=syn223', (4.428,0.1575), layer=5, texttype=0))
b15zdnf55an1n64x5.add(gdstk.Label('=syn400', (4.536,0.45), layer=5, texttype=0))
b15zdnf55an1n64x5.add(gdstk.Label('=syn325', (4.536,0.1575), layer=5, texttype=0))
b15zdnf55an1n64x5.add(gdstk.Label('=syn401', (4.644,0.4725), layer=5, texttype=0))
b15zdnf55an1n64x5.add(gdstk.Label('=syn326', (4.644,0.1575), layer=5, texttype=0))
b15zdnf55an1n64x5.add(gdstk.Label('=syn403', (4.86,0.4725), layer=5, texttype=0))
b15zdnf55an1n64x5.add(gdstk.Label('=syn219', (4.86,0.1575), layer=5, texttype=0))
b15zdnf55an1n64x5.add(gdstk.Label('=syn404', (4.968,0.45), layer=5, texttype=0))
b15zdnf55an1n64x5.add(gdstk.Label('=syn327', (4.968,0.1575), layer=5, texttype=0))
b15zdnf55an1n64x5.add(gdstk.Label('=syn405', (5.076,0.4725), layer=5, texttype=0))
b15zdnf55an1n64x5.add(gdstk.Label('=syn328', (5.076,0.1575), layer=5, texttype=0))
b15zdnf55an1n64x5.add(gdstk.Label('=syn407', (5.292,0.4725), layer=5, texttype=0))
b15zdnf55an1n64x5.add(gdstk.Label('=syn224', (5.292,0.1575), layer=5, texttype=0))
b15zdnf55an1n64x5.add(gdstk.Label('=syn408', (5.4,0.45), layer=5, texttype=0))
b15zdnf55an1n64x5.add(gdstk.Label('=syn329', (5.4,0.1575), layer=5, texttype=0))
b15zdnf55an1n64x5.add(gdstk.Label('=syn409', (5.508,0.4725), layer=5, texttype=0))
b15zdnf55an1n64x5.add(gdstk.Label('=syn330', (5.508,0.1575), layer=5, texttype=0))
b15zdnf55an1n64x5.add(gdstk.Label('=syn411', (5.724,0.4725), layer=5, texttype=0))
b15zdnf55an1n64x5.add(gdstk.Label('=syn205', (5.724,0.1575), layer=5, texttype=0))
b15zdnf55an1n64x5.add(gdstk.Label('=syn412', (5.832,0.45), layer=5, texttype=0))
b15zdnf55an1n64x5.add(gdstk.Label('=syn303', (5.832,0.1575), layer=5, texttype=0))
b15zdnf55an1n64x5.add(gdstk.Label('=syn413', (5.94,0.4725), layer=5, texttype=0))
b15zdnf55an1n64x5.add(gdstk.Label('=syn304', (5.94,0.1575), layer=5, texttype=0))
b15zdnf55an1n64x5.add(gdstk.Label('=syn415', (6.156,0.4725), layer=5, texttype=0))
b15zdnf55an1n64x5.add(gdstk.Label('=syn209', (6.156,0.1575), layer=5, texttype=0))
b15zdnf55an1n64x5.add(gdstk.Label('=syn416', (6.264,0.45), layer=5, texttype=0))
b15zdnf55an1n64x5.add(gdstk.Label('=syn314', (6.264,0.1575), layer=5, texttype=0))
b15zdnf55an1n64x5.add(gdstk.Label('=syn417', (6.372,0.4725), layer=5, texttype=0))
b15zdnf55an1n64x5.add(gdstk.Label('=syn315', (6.372,0.1575), layer=5, texttype=0))
b15zdnf55an1n64x5.add(gdstk.Label('=syn419', (6.57,0.56), layer=5, texttype=0))
b15zdnf55an1n64x5.add(gdstk.Label('=syn206', (6.588,0.1575), layer=5, texttype=0))
b15zdnf55an1n64x5.add(gdstk.Label('=syn420', (6.696,0.45), layer=5, texttype=0))
b15zdnf55an1n64x5.add(gdstk.Label('=syn306', (6.696,0.1575), layer=5, texttype=0))
b15zdnf55an1n64x5.add(gdstk.Label('=syn421', (6.804,0.4725), layer=5, texttype=0))
b15zdnf55an1n64x5.add(gdstk.Label('=syn307', (6.804,0.1575), layer=5, texttype=0))

lib.write_gds('b15zdnf55an1n64x5.gds')
